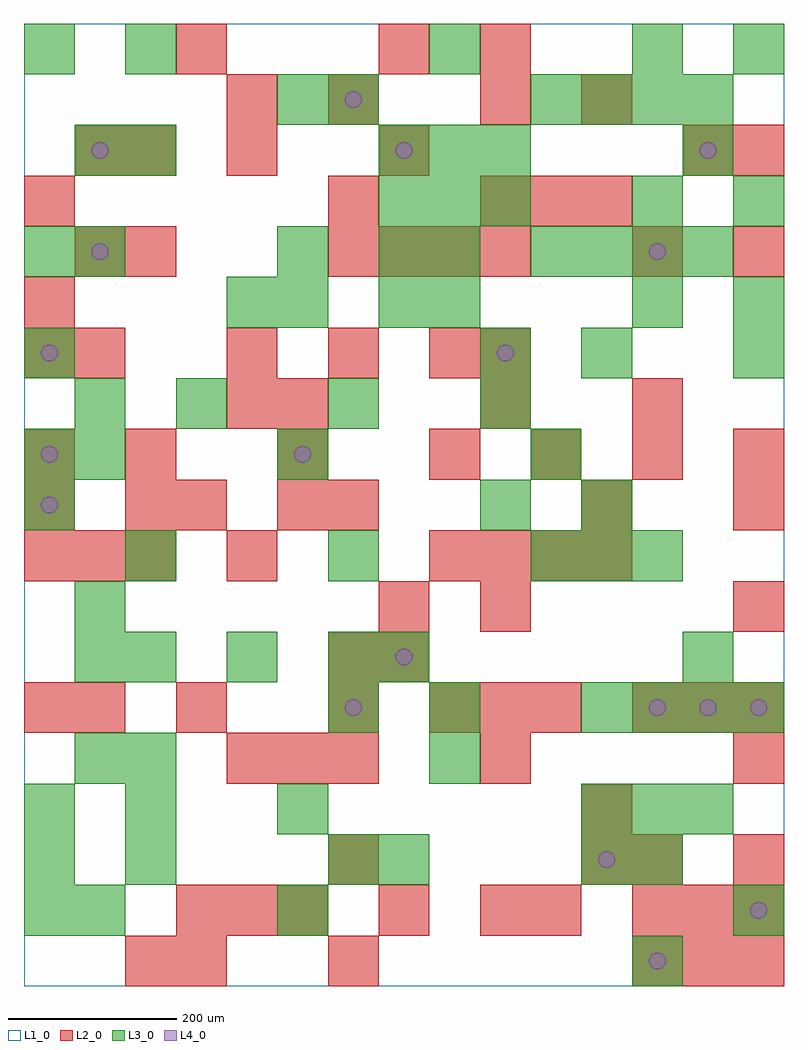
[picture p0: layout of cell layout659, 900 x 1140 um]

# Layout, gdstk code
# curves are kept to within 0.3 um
import gdstk
lib = gdstk.Library(unit=1e-6, precision=1e-09)
def R(c, l, rs):  # rectangles x0, y0, x1, y1
    for r in rs: c.add(gdstk.rectangle(r[:2], r[2:], *l))
def A(c, l, x, y, w, h, nx, ny, dx, dy):  # array of equal rectangles
    R(c, l, [(x+i*dx, y+j*dy, x+i*dx+w, y+j*dy+h) for i in range(nx) for j in range(ny)])
def P(c, l, *ps):  # polygons
    for p in ps: c.add(gdstk.Polygon(p, *l))
L1_0 = (1, 0)
L2_0 = (2, 0)
L3_0 = (3, 0)
L4_0 = (4, 0)

layout659 = lib.new_cell('layout659')
R(layout659, L1_0, [(0,0,900,1140)])
A(layout659, L2_0, 720, 0, 60, 60, 3, 2, 60, 60)
A(layout659, L2_0, 180, 60, 60, 60, 3, 1, 60, 0)
A(layout659, L2_0, 540, 60, 60, 60, 1, 3, 0, 180)
A(layout659, L2_0, 240, 240, 60, 60, 3, 1, 60, 0)
A(layout659, L2_0, 480, 300, 60, 60, 3, 1, 60, 0)
A(layout659, L2_0, 720, 300, 60, 60, 3, 1, 60, 0)
A(layout659, L2_0, 0, 480, 60, 60, 3, 1, 60, 0)
A(layout659, L2_0, 480, 480, 60, 60, 4, 1, 60, 0)
A(layout659, L2_0, 120, 600, 60, 60, 3, 1, 180, 0)
A(layout659, L2_0, 600, 600, 60, 60, 3, 1, 120, 0)
A(layout659, L2_0, 60, 720, 60, 60, 1, 3, 0, 120)
A(layout659, L2_0, 240, 720, 60, 60, 3, 1, 120, 0)
A(layout659, L2_0, 360, 840, 60, 60, 4, 1, 60, 0)
A(layout659, L2_0, 540, 900, 60, 60, 3, 1, 60, 0)
R(layout659, L2_0, [(120,0,180,60), (180,0,240,60), (360,0,420,60), (420,60,480,120), (600,60,660,120), (360,120,420,180), (660,120,720,180), (720,120,780,180), (840,120,900,180), (660,180,720,240), (840,240,900,300), (0,300,60,360), (60,300,120,360), (180,300,240,360), (360,300,420,360), (360,360,420,420), (420,360,480,420), (420,420,480,480), (840,420,900,480), (240,480,300,540), (0,540,60,600), (120,540,180,600), (180,540,240,600), (300,540,360,600), (360,540,420,600), (660,540,720,600), (840,540,900,600), (0,600,60,660), (240,660,300,720), (300,660,360,720), (540,660,600,720), (720,660,780,720), (0,720,60,780), (540,720,600,780), (0,780,60,840), (120,840,180,900), (720,840,780,900), (840,840,900,900), (0,900,60,960), (360,900,420,960), (120,960,180,1020), (240,960,300,1020), (420,960,480,1020), (780,960,840,1020), (840,960,900,1020), (240,1020,300,1080), (360,1020,420,1080), (540,1020,600,1080), (660,1020,720,1080), (180,1080,240,1140), (420,1080,480,1140), (540,1080,600,1140)])
A(layout659, L3_0, 0, 60, 60, 60, 1, 3, 0, 60)
A(layout659, L3_0, 120, 120, 60, 60, 1, 3, 0, 60)
A(layout659, L3_0, 660, 180, 60, 60, 3, 1, 60, 0)
A(layout659, L3_0, 660, 300, 60, 60, 4, 1, 60, 0)
A(layout659, L3_0, 120, 360, 60, 60, 3, 1, 120, 0)
A(layout659, L3_0, 120, 480, 60, 60, 3, 1, 240, 0)
A(layout659, L3_0, 0, 600, 60, 60, 1, 3, 0, 120)
A(layout659, L3_0, 180, 660, 60, 60, 3, 1, 180, 0)
A(layout659, L3_0, 600, 840, 60, 60, 4, 2, 60, 180)
A(layout659, L3_0, 420, 900, 60, 60, 3, 2, 60, 60)
R(layout659, L3_0, [(720,0,780,60), (60,60,120,120), (300,60,360,120), (840,60,900,120), (360,120,420,180), (420,120,480,180), (660,120,720,180), (720,120,780,180), (300,180,360,240), (60,240,120,300), (480,240,540,300), (360,300,420,360), (480,300,540,360), (60,360,120,420), (420,360,480,420), (780,360,840,420), (60,420,120,480), (660,480,720,540), (720,480,780,540), (0,540,60,600), (540,540,600,600), (660,540,720,600), (60,600,120,660), (300,600,360,660), (600,600,660,660), (60,660,120,720), (540,720,600,780), (660,720,720,780), (840,720,900,780), (240,780,300,840), (300,780,360,840), (420,780,480,840), (480,780,540,840), (720,780,780,840), (840,780,900,840), (60,840,120,900), (300,840,360,900), (420,840,480,900), (480,840,540,900), (720,900,780,960), (840,900,900,960), (60,960,120,1020), (120,960,180,1020), (780,960,840,1020), (300,1020,360,1080), (360,1020,420,1080), (0,1080,60,1140), (120,1080,180,1140), (480,1080,540,1140), (720,1080,780,1140), (840,1080,900,1140)])
P(layout659, L4_0, [(40,570),(39.239,573.827),(37.071,577.071),(33.827,579.239),(30,580),(26.173,579.239),(22.929,577.071),(20.761,573.827),(20,570),(20.761,566.173),(22.929,562.929),(26.173,560.761),(30,560),(33.827,560.761),(37.071,562.929),(39.239,566.173)],
  [(40,630),(39.239,633.827),(37.071,637.071),(33.827,639.239),(30,640),(26.173,639.239),(22.929,637.071),(20.761,633.827),(20,630),(20.761,626.173),(22.929,622.929),(26.173,620.761),(30,620),(33.827,620.761),(37.071,622.929),(39.239,626.173)],
  [(40,750),(39.239,753.827),(37.071,757.071),(33.827,759.239),(30,760),(26.173,759.239),(22.929,757.071),(20.761,753.827),(20,750),(20.761,746.173),(22.929,742.929),(26.173,740.761),(30,740),(33.827,740.761),(37.071,742.929),(39.239,746.173)],
  [(100,870),(99.239,873.827),(97.071,877.071),(93.827,879.239),(90,880),(86.173,879.239),(82.929,877.071),(80.761,873.827),(80,870),(80.761,866.173),(82.929,862.929),(86.173,860.761),(90,860),(93.827,860.761),(97.071,862.929),(99.239,866.173)],
  [(100,990),(99.239,993.827),(97.071,997.071),(93.827,999.239),(90,1000),(86.173,999.239),(82.929,997.071),(80.761,993.827),(80,990),(80.761,986.173),(82.929,982.929),(86.173,980.761),(90,980),(93.827,980.761),(97.071,982.929),(99.239,986.173)],
  [(340,630),(339.239,633.827),(337.071,637.071),(333.827,639.239),(330,640),(326.173,639.239),(322.929,637.071),(320.761,633.827),(320,630),(320.761,626.173),(322.929,622.929),(326.173,620.761),(330,620),(333.827,620.761),(337.071,622.929),(339.239,626.173)],
  [(400,330),(399.239,333.827),(397.071,337.071),(393.827,339.239),(390,340),(386.173,339.239),(382.929,337.071),(380.761,333.827),(380,330),(380.761,326.173),(382.929,322.929),(386.173,320.761),(390,320),(393.827,320.761),(397.071,322.929),(399.239,326.173)],
  [(400,1050),(399.239,1053.827),(397.071,1057.071),(393.827,1059.239),(390,1060),(386.173,1059.239),(382.929,1057.071),(380.761,1053.827),(380,1050),(380.761,1046.173),(382.929,1042.929),(386.173,1040.761),(390,1040),(393.827,1040.761),(397.071,1042.929),(399.239,1046.173)],
  [(460,390),(459.239,393.827),(457.071,397.071),(453.827,399.239),(450,400),(446.173,399.239),(442.929,397.071),(440.761,393.827),(440,390),(440.761,386.173),(442.929,382.929),(446.173,380.761),(450,380),(453.827,380.761),(457.071,382.929),(459.239,386.173)],
  [(460,990),(459.239,993.827),(457.071,997.071),(453.827,999.239),(450,1000),(446.173,999.239),(442.929,997.071),(440.761,993.827),(440,990),(440.761,986.173),(442.929,982.929),(446.173,980.761),(450,980),(453.827,980.761),(457.071,982.929),(459.239,986.173)],
  [(580,750),(579.239,753.827),(577.071,757.071),(573.827,759.239),(570,760),(566.173,759.239),(562.929,757.071),(560.761,753.827),(560,750),(560.761,746.173),(562.929,742.929),(566.173,740.761),(570,740),(573.827,740.761),(577.071,742.929),(579.239,746.173)],
  [(700,150),(699.239,153.827),(697.071,157.071),(693.827,159.239),(690,160),(686.173,159.239),(682.929,157.071),(680.761,153.827),(680,150),(680.761,146.173),(682.929,142.929),(686.173,140.761),(690,140),(693.827,140.761),(697.071,142.929),(699.239,146.173)],
  [(760,30),(759.239,33.827),(757.071,37.071),(753.827,39.239),(750,40),(746.173,39.239),(742.929,37.071),(740.761,33.827),(740,30),(740.761,26.173),(742.929,22.929),(746.173,20.761),(750,20),(753.827,20.761),(757.071,22.929),(759.239,26.173)],
  [(760,330),(759.239,333.827),(757.071,337.071),(753.827,339.239),(750,340),(746.173,339.239),(742.929,337.071),(740.761,333.827),(740,330),(740.761,326.173),(742.929,322.929),(746.173,320.761),(750,320),(753.827,320.761),(757.071,322.929),(759.239,326.173)],
  [(760,870),(759.239,873.827),(757.071,877.071),(753.827,879.239),(750,880),(746.173,879.239),(742.929,877.071),(740.761,873.827),(740,870),(740.761,866.173),(742.929,862.929),(746.173,860.761),(750,860),(753.827,860.761),(757.071,862.929),(759.239,866.173)],
  [(820,330),(819.239,333.827),(817.071,337.071),(813.827,339.239),(810,340),(806.173,339.239),(802.929,337.071),(800.761,333.827),(800,330),(800.761,326.173),(802.929,322.929),(806.173,320.761),(810,320),(813.827,320.761),(817.071,322.929),(819.239,326.173)],
  [(820,990),(819.239,993.827),(817.071,997.071),(813.827,999.239),(810,1000),(806.173,999.239),(802.929,997.071),(800.761,993.827),(800,990),(800.761,986.173),(802.929,982.929),(806.173,980.761),(810,980),(813.827,980.761),(817.071,982.929),(819.239,986.173)],
  [(880,90),(879.239,93.827),(877.071,97.071),(873.827,99.239),(870,100),(866.173,99.239),(862.929,97.071),(860.761,93.827),(860,90),(860.761,86.173),(862.929,82.929),(866.173,80.761),(870,80),(873.827,80.761),(877.071,82.929),(879.239,86.173)],
  [(880,330),(879.239,333.827),(877.071,337.071),(873.827,339.239),(870,340),(866.173,339.239),(862.929,337.071),(860.761,333.827),(860,330),(860.761,326.173),(862.929,322.929),(866.173,320.761),(870,320),(873.827,320.761),(877.071,322.929),(879.239,326.173)])

lib.write_gds('layout659.gds')
